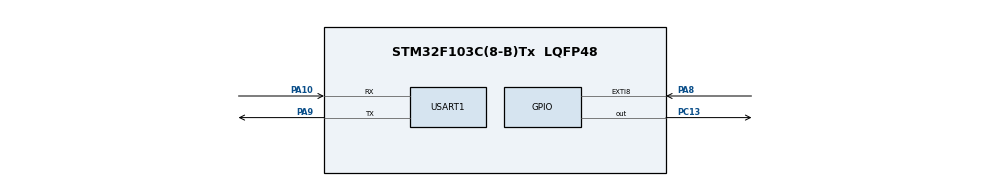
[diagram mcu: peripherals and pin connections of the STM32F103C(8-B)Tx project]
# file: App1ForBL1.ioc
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Mcu.Family=STM32F1
Mcu.Name=STM32F103C(8-B)Tx
Mcu.Package=LQFP48
NVIC.EXTI9_5_IRQn=true\:0\:0\:false\:false\:true\:true\:true\:true
NVIC.PriorityGroup=NVIC_PRIORITYGROUP_4
PA10.Mode=Asynchronous
PA10.Signal=USART1_RX
PA13.Mode=Serial_Wire
PA13.Signal=SYS_JTMS-SWDIO
PA14.Mode=Serial_Wire
PA14.Signal=SYS_JTCK-SWCLK
PA8.GPIO_ModeDefaultEXTI=GPIO_MODE_IT_FALLING
PA8.GPIO_PuPd=GPIO_PULLUP
PA8.Signal=GPXTI8
PA9.Mode=Asynchronous
PA9.Signal=USART1_TX
PC13-TAMPER-RTC.GPIO_ModeDefaultOutputPP=GPIO_MODE_OUTPUT_OD
PC13-TAMPER-RTC.GPIO_PuPd=GPIO_NOPULL
PC13-TAMPER-RTC.PinState=GPIO_PIN_SET
PC13-TAMPER-RTC.Signal=GPIO_Output
ProjectManager.HeapSize=0x200
ProjectManager.StackSize=0x400
ProjectManager.TargetToolchain=STM32CubeIDE
RCC.APB1Freq_Value=8000000
RCC.APB2Freq_Value=8000000
USART1.VirtualMode=VM_ASYNC
board=custom

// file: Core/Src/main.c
/* USER CODE BEGIN Header */
/**
  ******************************************************************************
  * @file           : main.c
  * @brief          : Main program body
  ******************************************************************************
  * @attention
  *
  * Copyright (c) 2026 STMicroelectronics.
  * All rights reserved.
  *
  * This software is licensed under terms that can be found in the LICENSE file
  * in the root directory of this software component.
  * If no LICENSE file comes with this software, it is provided AS-IS.
  *
  ******************************************************************************
  */
/* USER CODE END Header */
#include "main.h"

/* USER CODE BEGIN Includes */
#include <stdio.h>
#include "flash_write.h"
/* USER CODE END Includes */

/* USER CODE BEGIN PD */
#define APP1_HDR_START 0x08008000U
#define APP1_START 0x08008800U
/* USER CODE END PD */

UART_HandleTypeDef huart1;

void SystemClock_Config(void);
static void MX_GPIO_Init(void);
static void MX_USART1_UART_Init(void);

/* USER CODE BEGIN 0 */

int _write(int fd, char *ptr, int len) {
    HAL_StatusTypeDef hstatus;

    if (fd == 1 || fd == 2) {
        hstatus = HAL_UART_Transmit(&huart1, (uint8_t*) ptr, len, HAL_MAX_DELAY);
        if (hstatus == HAL_OK)
            return len;
        else
            return -1;
    }
    return -1;
}

void HAL_GPIO_EXTI_Callback(uint16_t GPIO_Pin){
	uint32_t tempBuff[7]={0};
	for(volatile uint8_t i=0;i<7;i++){
		tempBuff[i]=*(uint32_t *)(APP1_HDR_START+i*0x4);
	}

	tempBuff[5]=0x1;
	flash_write(APP1_HDR_START, tempBuff, 7);

	NVIC_SystemReset();
}
/* USER CODE END 0 */

int main(void)
{

  /* MCU Configuration--------------------------------------------------------*/

  /* Reset of all peripherals, Initializes the Flash interface and the Systick. */
  HAL_Init();

  /* USER CODE BEGIN Init */
   __disable_irq();
	SCB->VTOR=APP1_START;
	__enable_irq();
  /* USER CODE END Init */

  /* Configure the system clock */
  SystemClock_Config();

  /* Initialize all configured peripherals */
  MX_GPIO_Init();
  MX_USART1_UART_Init();
  /* USER CODE BEGIN 2 */

  printf("Inside Application1\r\n");
  HAL_Delay(1000);

  /* USER CODE END 2 */

  /* Infinite loop */
  /* USER CODE BEGIN WHILE */
  while (1)
  {
	  HAL_GPIO_TogglePin(GPIOC, GPIO_PIN_13);
	  HAL_Delay(1000);
    /* USER CODE END WHILE */

  }
}

void SystemClock_Config(void)
{
  RCC_OscInitTypeDef RCC_OscInitStruct = {0};
  RCC_ClkInitTypeDef RCC_ClkInitStruct = {0};

  /** Initializes the RCC Oscillators according to the specified parameters
  * in the RCC_OscInitTypeDef structure.
  */
  RCC_OscInitStruct.OscillatorType = RCC_OSCILLATORTYPE_HSI;
  RCC_OscInitStruct.HSIState = RCC_HSI_ON;
  RCC_OscInitStruct.HSICalibrationValue = RCC_HSICALIBRATION_DEFAULT;
  RCC_OscInitStruct.PLL.PLLState = RCC_PLL_NONE;
  if (HAL_RCC_OscConfig(&RCC_OscInitStruct) != HAL_OK)
  {
    Error_Handler();
  }

  /** Initializes the CPU, AHB and APB buses clocks
  */
  RCC_ClkInitStruct.ClockType = RCC_CLOCKTYPE_HCLK|RCC_CLOCKTYPE_SYSCLK
                              |RCC_CLOCKTYPE_PCLK1|RCC_CLOCKTYPE_PCLK2;
  RCC_ClkInitStruct.SYSCLKSource = RCC_SYSCLKSOURCE_HSI;
  RCC_ClkInitStruct.AHBCLKDivider = RCC_SYSCLK_DIV1;
  RCC_ClkInitStruct.APB1CLKDivider = RCC_HCLK_DIV1;
  RCC_ClkInitStruct.APB2CLKDivider = RCC_HCLK_DIV1;

  if (HAL_RCC_ClockConfig(&RCC_ClkInitStruct, FLASH_LATENCY_0) != HAL_OK)
  {
    Error_Handler();
  }
}

static void MX_USART1_UART_Init(void)
{

  huart1.Instance = USART1;
  huart1.Init.BaudRate = 115200;
  huart1.Init.WordLength = UART_WORDLENGTH_8B;
  huart1.Init.StopBits = UART_STOPBITS_1;
  huart1.Init.Parity = UART_PARITY_NONE;
  huart1.Init.Mode = UART_MODE_TX_RX;
  huart1.Init.HwFlowCtl = UART_HWCONTROL_NONE;
  huart1.Init.OverSampling = UART_OVERSAMPLING_16;
  if (HAL_UART_Init(&huart1) != HAL_OK)
  {
    Error_Handler();
  }

}

static void MX_GPIO_Init(void)
{
  GPIO_InitTypeDef GPIO_InitStruct = {0};

  /* GPIO Ports Clock Enable */
  __HAL_RCC_GPIOC_CLK_ENABLE();
  __HAL_RCC_GPIOA_CLK_ENABLE();

  /*Configure GPIO pin Output Level */
  HAL_GPIO_WritePin(GPIOC, GPIO_PIN_13, GPIO_PIN_SET);

  /*Configure GPIO pin : PC13 */
  GPIO_InitStruct.Pin = GPIO_PIN_13;
  GPIO_InitStruct.Mode = GPIO_MODE_OUTPUT_OD;
  GPIO_InitStruct.Pull = GPIO_NOPULL;
  GPIO_InitStruct.Speed = GPIO_SPEED_FREQ_LOW;
  HAL_GPIO_Init(GPIOC, &GPIO_InitStruct);

  /*Configure GPIO pin : PA8 */
  GPIO_InitStruct.Pin = GPIO_PIN_8;
  GPIO_InitStruct.Mode = GPIO_MODE_IT_FALLING;
  GPIO_InitStruct.Pull = GPIO_PULLUP;
  HAL_GPIO_Init(GPIOA, &GPIO_InitStruct);

  /* EXTI interrupt init*/
  HAL_NVIC_SetPriority(EXTI9_5_IRQn, 0, 0);
  HAL_NVIC_EnableIRQ(EXTI9_5_IRQn);

}

void Error_Handler(void)
{
  __disable_irq();
  while (1)
  {
  }
}
